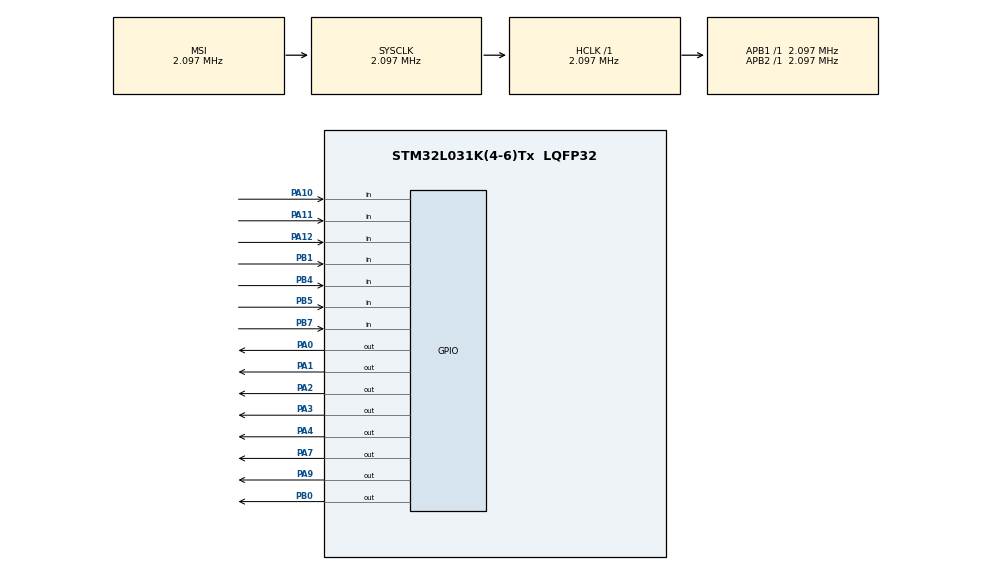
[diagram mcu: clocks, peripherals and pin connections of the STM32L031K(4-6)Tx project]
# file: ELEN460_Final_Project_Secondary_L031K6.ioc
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Mcu.Family=STM32L0
Mcu.Name=STM32L031K(4-6)Tx
Mcu.Package=LQFP32
PA0-CK_IN.GPIO_PuPd=GPIO_NOPULL
PA0-CK_IN.Signal=GPIO_Output
PA1.GPIO_PuPd=GPIO_NOPULL
PA1.Signal=GPIO_Output
PA10.GPIO_PuPd=GPIO_PULLUP
PA10.Signal=GPIO_Input
PA11.Signal=GPIO_Input
PA12.Signal=GPIO_Input
PA2.GPIO_PuPd=GPIO_NOPULL
PA2.Signal=GPIO_Output
PA3.GPIO_PuPd=GPIO_NOPULL
PA3.Signal=GPIO_Output
PA4.GPIO_PuPd=GPIO_NOPULL
PA4.Signal=GPIO_Output
PA7.GPIO_PuPd=GPIO_NOPULL
PA7.PinState=GPIO_PIN_RESET
PA7.Signal=GPIO_Output
PA9.GPIO_ModeDefaultOutputPP=GPIO_MODE_OUTPUT_OD
PA9.GPIO_PuPd=GPIO_PULLUP
PA9.PinState=GPIO_PIN_SET
PA9.Signal=GPIO_Output
PB0.GPIO_ModeDefaultOutputPP=GPIO_MODE_OUTPUT_OD
PB0.GPIO_PuPd=GPIO_PULLUP
PB0.PinState=GPIO_PIN_SET
PB0.Signal=GPIO_Output
PB1.Signal=GPIO_Input
PB4.Signal=GPIO_Input
PB5.Signal=GPIO_Input
PB7.Signal=GPIO_Input
ProjectManager.HeapSize=0x200
ProjectManager.StackSize=0x400
ProjectManager.TargetToolchain=EWARM V8.32
RCC.AHBFreq_Value=2097000
RCC.APB1Freq_Value=2097000
RCC.APB1TimFreq_Value=2097000
RCC.APB2Freq_Value=2097000
RCC.APB2TimFreq_Value=2097000
RCC.HSE_VALUE=8000000
RCC.HSI16_VALUE=16000000
RCC.HSI_VALUE=16000000
RCC.LSE_VALUE=32768
RCC.MSI_VALUE=2097000
RCC.SYSCLKFreq_VALUE=2097000
RCC.VCOOutputFreq_Value=48000000
board=custom

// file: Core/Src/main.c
/* USER CODE BEGIN Header */
/**
  ******************************************************************************
  * @file           : main.c
  * @brief          : Main program body
  ******************************************************************************
  * @attention
  *
  * <h2><center>&copy; Copyright (c) 2021 STMicroelectronics.
  * All rights reserved.</center></h2>
  *
  * This software component is licensed by ST under BSD 3-Clause license,
  * the "License"; You may not use this file except in compliance with the
  * License. You may obtain a copy of the License at:
  *                        opensource.org/licenses/BSD-3-Clause
  *
  ******************************************************************************
  */
/* USER CODE END Header */
#include "main.h"

/* USER CODE BEGIN PD */
#define GOAL_1_PIN              GPIOA, GPIO_PIN_11
#define GOAL_2_PIN              GPIOB, GPIO_PIN_4
#define GOAL_3_PIN              GPIOA, GPIO_PIN_12
#define GOAL_4_PIN              GPIOB, GPIO_PIN_7
#define GOAL_5_PIN              GPIOB, GPIO_PIN_1
#define GOAL_6_PIN              GPIOB, GPIO_PIN_5

#define LED_1_PIN               GPIOA, GPIO_PIN_3
#define LED_2_PIN               GPIOA, GPIO_PIN_0
#define LED_3_PIN               GPIOA, GPIO_PIN_2
#define LED_4_PIN               GPIOA, GPIO_PIN_1
#define LED_5_PIN               GPIOA, GPIO_PIN_7
#define LED_6_PIN               GPIOA, GPIO_PIN_4

#define RESET_PIN               GPIOA, GPIO_PIN_10
#define WIN_PIN                 GPIOB, GPIO_PIN_0
#define ALL_BALLS_PIN           GPIOA, GPIO_PIN_9

#define NUMBER_OF_BALLS         10
/* USER CODE END PD */

/* USER CODE BEGIN PV */
uint8_t goals = 0;
uint8_t leds = 0;
uint8_t reset = 0;
uint8_t ballCount = 0;
uint8_t lastValue = 0;
uint8_t count = 0;
uint8_t winFlag = false;
uint8_t allFiredFlag = false;
/* USER CODE END PV */

void SystemClock_Config(void);
static void MX_GPIO_Init(void);
/* USER CODE BEGIN PFP */
void LED_Process(uint8_t mask);
/* USER CODE END PFP */

int main(void)
{

  /* MCU Configuration--------------------------------------------------------*/

  /* Reset of all peripherals, Initializes the Flash interface and the Systick. */
  HAL_Init();

  /* Configure the system clock */
  SystemClock_Config();

  /* Initialize all configured peripherals */
  MX_GPIO_Init();

  /* Infinite loop */
  /* USER CODE BEGIN WHILE */
  while (1)
  {
    reset = !(HAL_GPIO_ReadPin(RESET_PIN));
    if(reset) {
      leds = 0;
      goals = 0;
      lastValue = 0;
      ballCount = 0;
      winFlag = false;
      allFiredFlag = false;
      HAL_GPIO_WritePin(WIN_PIN, GPIO_PIN_SET);
      HAL_GPIO_WritePin(ALL_BALLS_PIN, GPIO_PIN_SET);
    }
    else {
      goals = (HAL_GPIO_ReadPin(GOAL_6_PIN) << 5) | (HAL_GPIO_ReadPin(GOAL_5_PIN) << 4) | (HAL_GPIO_ReadPin(GOAL_4_PIN) << 3) | (HAL_GPIO_ReadPin(GOAL_3_PIN) << 2) | (HAL_GPIO_ReadPin(GOAL_2_PIN) << 1) | (HAL_GPIO_ReadPin(GOAL_1_PIN) << 0);
    }

    leds |= goals;
    LED_Process(leds);

    // Check if player won
    if(leds == 0x3F) {
      winFlag = true;
      HAL_GPIO_WritePin(WIN_PIN, GPIO_PIN_RESET);
    }

        // Increment ball counter when ball passes through goal
    if(goals) {
      if(goals != lastValue) {
        ballCount++;
        lastValue = goals;
      }
    }
    else {lastValue = 0;}
    if(ballCount >= NUMBER_OF_BALLS) {
      allFiredFlag = true;
      HAL_GPIO_WritePin(ALL_BALLS_PIN, GPIO_PIN_RESET);
    }
    /* USER CODE END WHILE */

  }
}

void SystemClock_Config(void)
{
  RCC_OscInitTypeDef RCC_OscInitStruct = {0};
  RCC_ClkInitTypeDef RCC_ClkInitStruct = {0};

  /** Configure the main internal regulator output voltage
  */
  __HAL_PWR_VOLTAGESCALING_CONFIG(PWR_REGULATOR_VOLTAGE_SCALE1);
  /** Initializes the RCC Oscillators according to the specified parameters
  * in the RCC_OscInitTypeDef structure.
  */
  RCC_OscInitStruct.OscillatorType = RCC_OSCILLATORTYPE_MSI;
  RCC_OscInitStruct.MSIState = RCC_MSI_ON;
  RCC_OscInitStruct.MSICalibrationValue = 0;
  RCC_OscInitStruct.MSIClockRange = RCC_MSIRANGE_5;
  RCC_OscInitStruct.PLL.PLLState = RCC_PLL_NONE;
  if (HAL_RCC_OscConfig(&RCC_OscInitStruct) != HAL_OK)
  {
    Error_Handler();
  }
  /** Initializes the CPU, AHB and APB buses clocks
  */
  RCC_ClkInitStruct.ClockType = RCC_CLOCKTYPE_HCLK|RCC_CLOCKTYPE_SYSCLK
                              |RCC_CLOCKTYPE_PCLK1|RCC_CLOCKTYPE_PCLK2;
  RCC_ClkInitStruct.SYSCLKSource = RCC_SYSCLKSOURCE_MSI;
  RCC_ClkInitStruct.AHBCLKDivider = RCC_SYSCLK_DIV1;
  RCC_ClkInitStruct.APB1CLKDivider = RCC_HCLK_DIV1;
  RCC_ClkInitStruct.APB2CLKDivider = RCC_HCLK_DIV1;

  if (HAL_RCC_ClockConfig(&RCC_ClkInitStruct, FLASH_LATENCY_0) != HAL_OK)
  {
    Error_Handler();
  }
}

static void MX_GPIO_Init(void)
{
  GPIO_InitTypeDef GPIO_InitStruct = {0};

  /* GPIO Ports Clock Enable */
  __HAL_RCC_GPIOA_CLK_ENABLE();
  __HAL_RCC_GPIOB_CLK_ENABLE();

  /*Configure GPIO pin Output Level */
  HAL_GPIO_WritePin(GPIOA, GPIO_PIN_0|GPIO_PIN_1|GPIO_PIN_2|GPIO_PIN_3
                          |GPIO_PIN_4|GPIO_PIN_7, GPIO_PIN_RESET);

  /*Configure GPIO pin Output Level */
  HAL_GPIO_WritePin(GPIOB, GPIO_PIN_0, GPIO_PIN_SET);

  /*Configure GPIO pin Output Level */
  HAL_GPIO_WritePin(GPIOA, GPIO_PIN_9, GPIO_PIN_SET);

  /*Configure GPIO pins : PA0 PA1 PA2 PA3
                           PA4 PA7 */
  GPIO_InitStruct.Pin = GPIO_PIN_0|GPIO_PIN_1|GPIO_PIN_2|GPIO_PIN_3
                          |GPIO_PIN_4|GPIO_PIN_7;
  GPIO_InitStruct.Mode = GPIO_MODE_OUTPUT_PP;
  GPIO_InitStruct.Pull = GPIO_NOPULL;
  GPIO_InitStruct.Speed = GPIO_SPEED_FREQ_LOW;
  HAL_GPIO_Init(GPIOA, &GPIO_InitStruct);

  /*Configure GPIO pin : PB0 */
  GPIO_InitStruct.Pin = GPIO_PIN_0;
  GPIO_InitStruct.Mode = GPIO_MODE_OUTPUT_OD;
  GPIO_InitStruct.Pull = GPIO_PULLUP;
  GPIO_InitStruct.Speed = GPIO_SPEED_FREQ_LOW;
  HAL_GPIO_Init(GPIOB, &GPIO_InitStruct);

  /*Configure GPIO pins : PB1 PB4 PB5 PB7 */
  GPIO_InitStruct.Pin = GPIO_PIN_1|GPIO_PIN_4|GPIO_PIN_5|GPIO_PIN_7;
  GPIO_InitStruct.Mode = GPIO_MODE_INPUT;
  GPIO_InitStruct.Pull = GPIO_NOPULL;
  HAL_GPIO_Init(GPIOB, &GPIO_InitStruct);

  /*Configure GPIO pin : PA9 */
  GPIO_InitStruct.Pin = GPIO_PIN_9;
  GPIO_InitStruct.Mode = GPIO_MODE_OUTPUT_OD;
  GPIO_InitStruct.Pull = GPIO_PULLUP;
  GPIO_InitStruct.Speed = GPIO_SPEED_FREQ_LOW;
  HAL_GPIO_Init(GPIOA, &GPIO_InitStruct);

  /*Configure GPIO pin : PA10 */
  GPIO_InitStruct.Pin = GPIO_PIN_10;
  GPIO_InitStruct.Mode = GPIO_MODE_INPUT;
  GPIO_InitStruct.Pull = GPIO_PULLUP;
  HAL_GPIO_Init(GPIOA, &GPIO_InitStruct);

  /*Configure GPIO pins : PA11 PA12 */
  GPIO_InitStruct.Pin = GPIO_PIN_11|GPIO_PIN_12;
  GPIO_InitStruct.Mode = GPIO_MODE_INPUT;
  GPIO_InitStruct.Pull = GPIO_NOPULL;
  HAL_GPIO_Init(GPIOA, &GPIO_InitStruct);

}

/* USER CODE BEGIN 4 */
void LED_Process(uint8_t mask) {

  // Goal LED 1
  if((mask >> 0) & 0x1) {HAL_GPIO_WritePin(LED_1_PIN, GPIO_PIN_SET);}
  else {HAL_GPIO_WritePin(LED_1_PIN, GPIO_PIN_RESET);}

  // Goal LED 2
  if((mask >> 1) & 0x1) {HAL_GPIO_WritePin(LED_2_PIN, GPIO_PIN_SET);}
  else {HAL_GPIO_WritePin(LED_2_PIN, GPIO_PIN_RESET);}

  // Goal LED 3
  if((mask >> 2) & 0x1) {HAL_GPIO_WritePin(LED_3_PIN, GPIO_PIN_SET);}
  else {HAL_GPIO_WritePin(LED_3_PIN, GPIO_PIN_RESET);}

  // Goal LED 4
  if((mask >> 3) & 0x1) {HAL_GPIO_WritePin(LED_4_PIN, GPIO_PIN_SET);}
  else {HAL_GPIO_WritePin(LED_4_PIN, GPIO_PIN_RESET);}

  // Goal LED 5
  if((mask >> 4) & 0x1) {HAL_GPIO_WritePin(LED_5_PIN, GPIO_PIN_SET);}
  else {HAL_GPIO_WritePin(LED_5_PIN, GPIO_PIN_RESET);}

  // Goal LED 6
  if((mask >> 5) & 0x1) {HAL_GPIO_WritePin(LED_6_PIN, GPIO_PIN_SET);}
  else {HAL_GPIO_WritePin(LED_6_PIN, GPIO_PIN_RESET);}
}
/* USER CODE END 4 */

void Error_Handler(void)
{
  __disable_irq();
  while (1)
  {
  }
}

/************************ (C) COPYRIGHT STMicroelectronics *****END OF FILE****/
